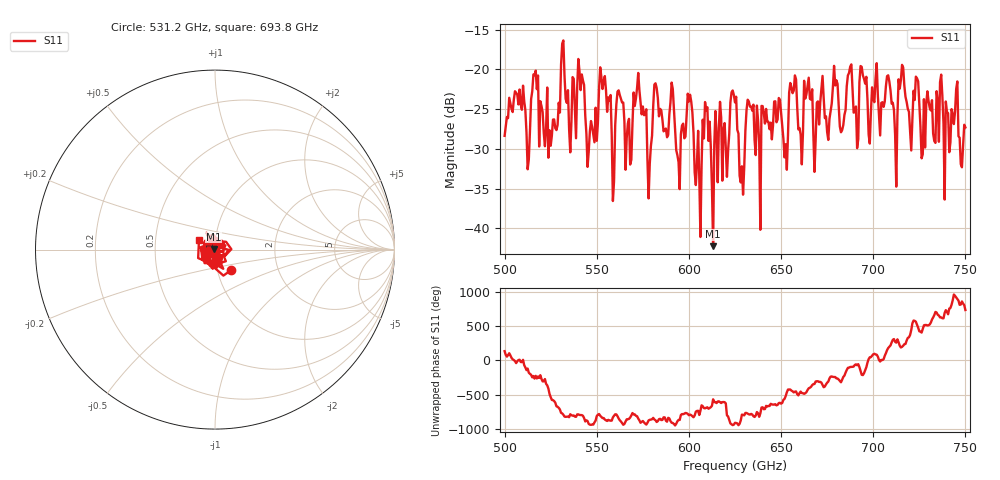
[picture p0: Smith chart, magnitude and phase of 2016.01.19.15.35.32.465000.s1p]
!Created with skrf (http://scikit-rf.org).
# GHz S RI R 50.0
!freq ReS11 ImS11
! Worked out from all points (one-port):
!   401 points, 500 GHz to 750 GHz, reference 50 ohm
!   lowest |S11| = -42.2 dB at 613.1 GHz (marker M1), VSWR 1.02, Z = 49.3 + j0.348 ohm
!   |S11| at or under -10 dB: start of sweep to end of sweep
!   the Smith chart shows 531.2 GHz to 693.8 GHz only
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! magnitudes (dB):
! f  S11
! 500 GHz  -28.4
! 512.5 GHz  -32.6
! 516.9 GHz  -20.1
! 525 GHz  -29.6
! 531.2 GHz  -16.8
! 545.6 GHz  -30.4
! 562.5 GHz  -23.2
! 566.9 GHz  -26.8
! 572.5 GHz  -20.4
! 578.8 GHz  -31.9
! 581.9 GHz  -21.7
! 590.6 GHz  -21.7
! 593.8 GHz  -30.8
! 600.6 GHz  -23.2
! 605 GHz  -27.7
! 608.8 GHz  -24.1
! 613.1 GHz  -42.2
! 625 GHz  -24.1
! 628.8 GHz  -32.2
! 632.5 GHz  -24.0
! 652.5 GHz  -29.4
! 656.2 GHz  -23.0
! 660.6 GHz  -28.2
! 687.5 GHz  -19.7
! 690.6 GHz  -24.7
! 693.8 GHz  -19.7
! 718.8 GHz  -24.9
! 750 GHz  -27.3
